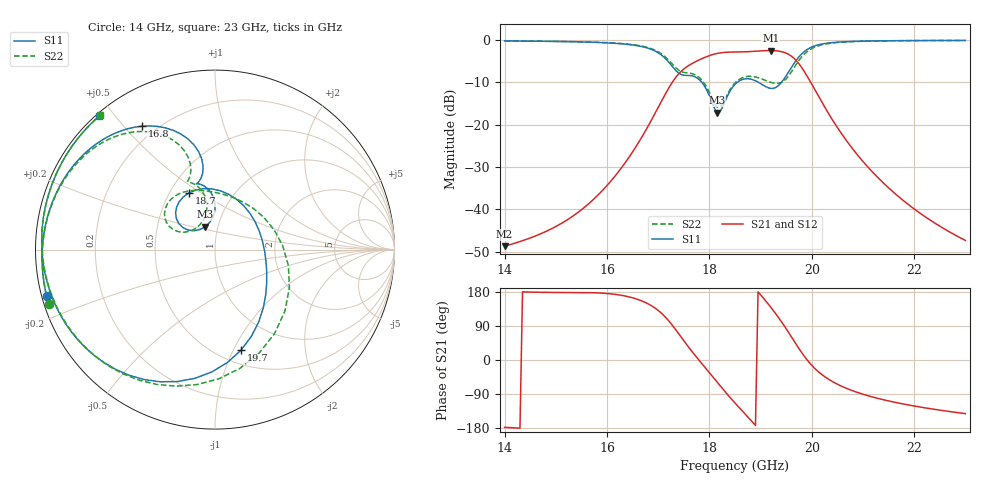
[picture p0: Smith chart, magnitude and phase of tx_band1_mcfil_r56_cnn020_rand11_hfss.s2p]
! Touchstone file exported from HFSS 3D Layout Design 2026.1.0
!  File:  D:/Work/SIM/ADS_AUTO_SIM/projects/RFSOC_RF/TX_Fillter.aedt
!  Generated:  05:50:06 AM Aug 31, 2026
!  Design:  TX_BAND1_MCFIL_R56_CNN020
!  Project:  TX_Fillter
# GHz S MA R 50.000000
! Terminal data exported
! Port[1] = Port1
! Port[2] = Port2
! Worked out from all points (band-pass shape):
!   181 points, 14 GHz to 23 GHz, reference 50 ohm
!   highest |S21| = -2.51 dB at 19.2 GHz (marker M1); lowest = -48.7 dB at 14 GHz (marker M2)
!   |S21| within 3 dB of the highest: 17.67 GHz to 19.74 GHz (2.069 GHz wide, 11.1 % of centre)
!   lowest |S11| = -17.2 dB at 18.15 GHz (marker M3), VSWR 1.32, Z = 43.5 + j11.3 ohm
!   |S11| at or under -10 dB: 17.85 GHz to 18.54 GHz (693.2 MHz wide, 3.81 % of centre); 18.96 GHz to 19.41 GHz (452.3 MHz wide, 2.36 % of centre)
!   |S22| runs from -15.9 to -0.1 dB; largest |S21 - S12| = 1.7e-14
!   S11 on the Smith chart (normalised r, x): 14 GHz: 0.01, -0.14; 16.8 GHz: 0.15, +0.56; 18.7 GHz: 0.62, +0.45; 19.7 GHz: 0.64, -1.07; 23 GHz: 0.01, +0.46
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14  0.9731 -164.4  0.003691 -177.8  0.003691 -177.8  0.9741 -162.0
15.5  0.946 165.1  0.009918 178.2  0.009918 178.2  0.949 168.6
16.25  0.903 143.8  0.0292 171.4  0.0292 171.4  0.9091 148.5
16.8  0.7987 120.6  0.09542 148.4  0.09542 148.4  0.8119 126.8
17  0.7048 109.4  0.1599 130.8  0.1599 130.8  0.7241 116.5
17.25  0.5082 98.3  0.2991 96.2  0.2991 96.2  0.5392 106.3
17.5  0.383 104.9  0.4537 50.8  0.4537 50.8  0.4137 111.2
17.85  0.3169 93.9  0.5995 -9.2  0.5995 -9.2  0.3365 102.7
18.15  0.1386 113.1  0.6921 -58.4  0.6921 -58.4  0.1617 121.2
18.3  0.186 144.1  0.7128 -82.7  0.7128 -82.7  0.1991 151.0
18.5  0.2993 137.2  0.7193 -113.5  0.7193 -113.5  0.3103 150.7
18.7  0.3478 114.6  0.7231 -142.9  0.7231 -142.9  0.3679 136.2
18.95  0.3177 76.2  0.7386 179.9  0.7386 179.9  0.3586 114.4
19.2  0.2675 23.1  0.7493 139.1  0.7493 139.1  0.3155 86.8
19.45  0.3412 -32.4  0.7156 92.5  0.7156 92.5  0.326 33.6
19.7  0.579 -75.6  0.5673 40.2  0.5673 40.2  0.5195 -41.5
19.85  0.726 -98.9  0.4275 10.5  0.4275 10.5  0.6764 -78.2
20  0.8249 -118.7  0.2999 -14.1  0.2999 -14.1  0.7909 -105.8
20.25  0.9059 -143.0  0.1621 -43.7  0.1621 -43.7  0.8898 -136.8
20.55  0.9441 -162.7  0.08341 -67.2  0.08341 -67.2  0.9375 -160.0
21.5  0.9767 162.0  0.01798 -108.0  0.01798 -108.0  0.9763 161.9
23  0.985 130.8  0.004313 -141.5  0.004313 -141.5  0.985 130.4
